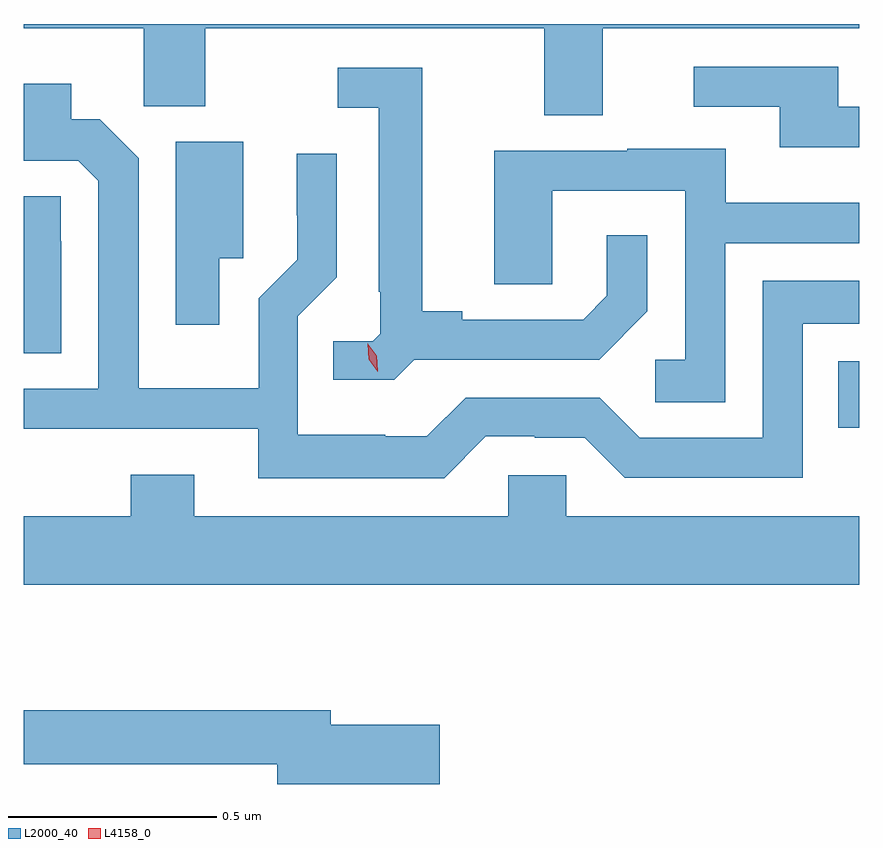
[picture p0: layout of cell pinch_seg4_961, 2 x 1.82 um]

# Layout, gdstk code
import gdstk
lib = gdstk.Library(unit=1e-6, precision=1e-09)
def R(c, l, rs):  # rectangles x0, y0, x1, y1
    for r in rs: c.add(gdstk.rectangle(r[:2], r[2:], *l))
def P(c, l, *ps):  # polygons
    for p in ps: c.add(gdstk.Polygon(p, *l))
L2000_40 = (2000, 40)
L4158_0 = (4158, 0)

pinch_seg4_961 = lib.new_cell('pinch_seg4_961')
R(pinch_seg4_961, L2000_40, [(704.149,802.524,704.199,802.683)])
P(pinch_seg4_961, L2000_40, [(703.585,803.48),(704.199,803.48),(704.199,803.49),(702.199,803.49),(702.199,803.48),(702.486,803.48),(702.486,803.293),(702.633,803.293),(702.633,803.48),(703.445,803.48),(703.445,803.272),(703.585,803.272)],
  [(704.199,803.292),(704.149,803.292),(704.149,803.388),(703.803,803.388),(703.803,803.292),(704.009,803.292),(704.009,803.195),(704.199,803.195)],
  [(703.134,802.686),(703.576,802.686),(703.692,802.802),(703.692,802.984),(703.595,802.984),(703.595,802.839),(703.538,802.782),(703.249,802.782),(703.249,802.802),(703.153,802.802),(703.153,803.385),(702.951,803.385),(702.951,803.289),(703.049,803.289),(703.049,802.849),(703.053,802.849),(703.053,802.749),(703.035,802.731),(702.94,802.731),(702.94,802.639),(703.086,802.639)],
  [(703.305,802.503),(703.422,802.503),(703.422,802.5),(703.542,802.5),(703.638,802.404),(704.064,802.404),(704.064,802.773),(704.199,802.773),(704.199,802.876),(703.968,802.876),(703.968,802.5),(703.674,802.5),(703.578,802.596),(703.257,802.596),(703.164,802.503),(703.064,802.503),(703.064,802.507),(702.855,802.507),(702.855,802.791),(702.948,802.884),(702.948,803.179),(702.852,803.179),(702.852,803.032),(702.854,803.032),(702.854,802.926),(702.762,802.834),(702.762,802.618),(702.474,802.618),(702.474,803.169),(702.381,803.262),(702.313,803.262),(702.313,803.347),(702.199,803.347),(702.199,803.163),(702.33,803.163),(702.378,803.115),(702.378,802.617),(702.199,802.617),(702.199,802.521),(702.761,802.521),(702.761,802.403),(703.205,802.403)],
  [(702.667,802.929),(702.724,802.929),(702.724,803.208),(702.563,803.208),(702.563,802.77),(702.667,802.77)],
  [(703.878,802.965),(704.199,802.965),(704.199,803.062),(703.879,803.062),(703.879,803.191),(703.643,803.191),(703.643,803.187),(703.325,803.187),(703.325,802.867),(703.464,802.867),(703.464,803.091),(703.782,803.091),(703.782,802.686),(703.71,802.686),(703.71,802.585),(703.878,802.585)],
  [(702.289,802.97),(702.288,802.97),(702.288,803.078),(702.199,803.078),(702.199,802.702),(702.289,802.702)],
  [(704.199,802.312),(703.497,802.312),(703.497,802.41),(703.359,802.41),(703.359,802.312),(702.607,802.312),(702.607,802.411),(702.455,802.411),(702.455,802.312),(702.199,802.312),(702.199,802.148),(704.199,802.148)],
  [(703.195,801.813),(702.934,801.813),(702.934,801.847),(702.199,801.847),(702.199,801.718),(702.806,801.718),(702.806,801.671),(703.195,801.671)])
P(pinch_seg4_961, L4158_0, [(703.047,802.658),(703.047,802.658),(703.025,802.688),(703.022,802.725),(703.022,802.726),(703.022,802.725),(703.044,802.696),(703.047,802.659)])

lib.write_gds('pinch_seg4_961.gds')
